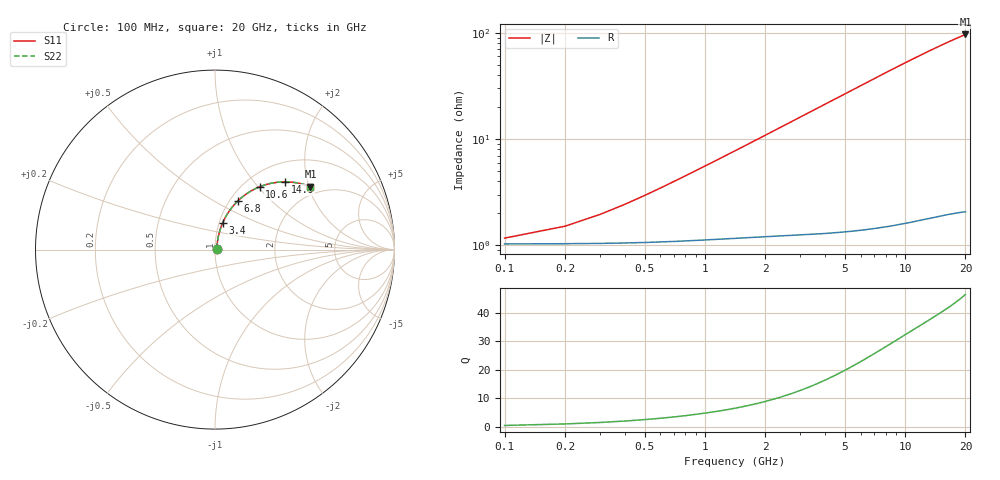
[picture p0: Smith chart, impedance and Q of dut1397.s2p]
! Touchstone file exported from HFSS 2026.1.0
!  File:  C:/ffzhzh/LocalFiles/Ansys_Project_Files/temp_train_BSMRDL_1397_1783179809_55132.aedt
!  Generated:  11:44:40 PM Jul  4, 2026
!  Design:  BSMRDL
!  Project:  temp_train_BSMRDL_1397_1783179809_55132
! Variables:
!  h_bsmrdl = 2.39um
!  h_ox = 20um
!  h_rdl = 5um
!  h_sub = 80um
!  h_tmrdl = 5um
!  h_tsv = 80um
!  h_via = 3um
!  l_bsmrdl = 710.3um
!  l_sub = 1110.3um
!  l_tmrdl = 200um
!  m_sub = 200um
!  pitch = 56.86um
!  r_tsv = 6um
!  s_tmrdl = 10um
!  w_bsmrdl = 10.17um
!  w_sub = 500um
!  w_tmrdl = 12um
!  x_tsv_center1 = 206um
!  x_tsv_center2 = 926.47um
!  x_tsv_center3 = 1138.47um
!  x_tsv_center4 = 1858.94um
!  x_tsv_center5 = 2070.94um
!  x_tsv_center6 = 2791.41um
# GHz S MA R 50.000000
! Terminal data exported
! Port[1] = BSM_RDL1_1_T1
! Port[2] = BSM_RDL1_1_T2
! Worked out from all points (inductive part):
!   200 points, 100 MHz to 20 GHz, reference 50 ohm
!   read as one part in series: L = 870 pH near 600 MHz
!   highest Q = 46.4 at 20 GHz (marker M1), where L = 765 pH
!   S11 on the Smith chart (normalised r, x): 100 MHz: 1.02, +0.01; 3.4 GHz: 1.04, +0.32; 6.8 GHz: 1.09, +0.64; 10.6 GHz: 1.19, +1.02; 14.9 GHz: 1.37, +1.47; 20 GHz: 1.74, +2.05
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0.1  0.01131 24.9  0.9898 -0.4  0.9898 -0.4  0.01131 24.9
! Gamma 0 0 0 0
! Port Impedance 50 0 50 0
0.4  0.02188 60.1  0.9894 -1.4  0.9894 -1.4  0.02188 60.1
0.6  0.03063 67.5  0.9889 -2.1  0.9889 -2.1  0.03063 67.5
0.7  0.03512 69.7  0.9887 -2.4  0.9887 -2.4  0.03512 69.7
0.9  0.04416 72.4  0.9881 -3.1  0.9881 -3.1  0.04416 72.4
1.2  0.05778 74.6  0.9871 -4.1  0.9871 -4.1  0.05778 74.6
1.6  0.07591 75.7  0.9856 -5.5  0.9856 -5.5  0.0759 75.7
2.1  0.09848 75.9  0.9833 -7.2  0.9833 -7.2  0.09848 75.9
2.7  0.1254 75.2  0.98 -9.2  0.98 -9.2  0.1254 75.2
3.4  0.1564 73.9  0.9754 -11.5  0.9754 -11.5  0.1564 73.9
3.5  0.1608 73.7  0.9746 -11.8  0.9746 -11.8  0.1608 73.7
4.2  0.1912 72.1  0.969 -14.1  0.969 -14.1  0.1912 72.1
5  0.2251 70.0  0.9615 -16.7  0.9615 -16.7  0.2251 70.0
5.9  0.262 67.5  0.952 -19.6  0.952 -19.6  0.262 67.5
6.8  0.2974 65.0  0.9413 -22.4  0.9413 -22.4  0.2974 65.0
8.3  0.353 60.8  0.9217 -26.9  0.9217 -26.9  0.353 60.9
10.1  0.4135 55.9  0.896 -32.0  0.896 -32.0  0.4135 56.0
10.6  0.4292 54.6  0.8886 -33.4  0.8886 -33.4  0.4291 54.6
13.4  0.5072 47.6  0.8465 -40.7  0.8465 -40.7  0.5072 47.6
14.9  0.5429 44.0  0.8242 -44.3  0.8242 -44.3  0.5428 44.1
16.7  0.5805 40.1  0.7984 -48.3  0.7984 -48.3  0.5804 40.1
20  0.6366 33.4  0.7551 -55.2  0.7551 -55.2  0.6365 33.5
